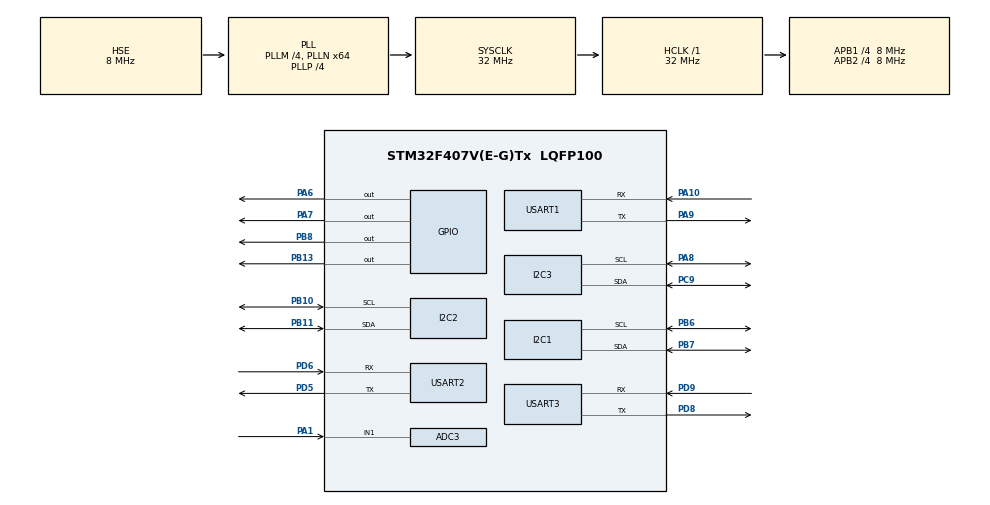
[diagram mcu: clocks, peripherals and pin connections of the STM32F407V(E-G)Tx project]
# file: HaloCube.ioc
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ADC3.Channel-0\#ChannelRegularConversion=ADC_CHANNEL_1
ADC3.NbrOfConversionFlag=1
ADC3.Rank-0\#ChannelRegularConversion=1
ADC3.Resolution=ADC_RESOLUTION_8B
ADC3.SamplingTime-0\#ChannelRegularConversion=ADC_SAMPLETIME_3CYCLES
Dma.I2C1_TX.0.Direction=DMA_MEMORY_TO_PERIPH
Dma.I2C1_TX.0.FIFOMode=DMA_FIFOMODE_DISABLE
Dma.I2C1_TX.0.Instance=DMA1_Stream6
Dma.I2C1_TX.0.MemDataAlignment=DMA_MDATAALIGN_BYTE
Dma.I2C1_TX.0.MemInc=DMA_MINC_ENABLE
Dma.I2C1_TX.0.Mode=DMA_NORMAL
Dma.I2C1_TX.0.PeriphDataAlignment=DMA_PDATAALIGN_BYTE
Dma.I2C1_TX.0.PeriphInc=DMA_PINC_DISABLE
Dma.I2C1_TX.0.Priority=DMA_PRIORITY_HIGH
Dma.I2C3_TX.5.Direction=DMA_MEMORY_TO_PERIPH
Dma.I2C3_TX.5.FIFOMode=DMA_FIFOMODE_DISABLE
Dma.I2C3_TX.5.Instance=DMA1_Stream4
Dma.I2C3_TX.5.MemDataAlignment=DMA_MDATAALIGN_BYTE
Dma.I2C3_TX.5.MemInc=DMA_MINC_ENABLE
Dma.I2C3_TX.5.Mode=DMA_NORMAL
Dma.I2C3_TX.5.PeriphDataAlignment=DMA_PDATAALIGN_BYTE
Dma.I2C3_TX.5.PeriphInc=DMA_PINC_DISABLE
Dma.I2C3_TX.5.Priority=DMA_PRIORITY_VERY_HIGH
Dma.MEMTOMEM.1.Direction=DMA_MEMORY_TO_MEMORY
Dma.MEMTOMEM.1.FIFOMode=DMA_FIFOMODE_ENABLE
Dma.MEMTOMEM.1.FIFOThreshold=DMA_FIFO_THRESHOLD_HALFFULL
Dma.MEMTOMEM.1.Instance=DMA2_Stream1
Dma.MEMTOMEM.1.MemBurst=DMA_MBURST_SINGLE
Dma.MEMTOMEM.1.MemDataAlignment=DMA_MDATAALIGN_BYTE
Dma.MEMTOMEM.1.MemInc=DMA_MINC_ENABLE
Dma.MEMTOMEM.1.Mode=DMA_NORMAL
Dma.MEMTOMEM.1.PeriphBurst=DMA_PBURST_SINGLE
Dma.MEMTOMEM.1.PeriphDataAlignment=DMA_PDATAALIGN_BYTE
Dma.MEMTOMEM.1.PeriphInc=DMA_PINC_ENABLE
Dma.MEMTOMEM.1.Priority=DMA_PRIORITY_LOW
Dma.MEMTOMEM.2.Direction=DMA_MEMORY_TO_MEMORY
Dma.MEMTOMEM.2.FIFOMode=DMA_FIFOMODE_ENABLE
Dma.MEMTOMEM.2.FIFOThreshold=DMA_FIFO_THRESHOLD_FULL
Dma.MEMTOMEM.2.Instance=DMA2_Stream0
Dma.MEMTOMEM.2.MemBurst=DMA_MBURST_SINGLE
Dma.MEMTOMEM.2.MemDataAlignment=DMA_MDATAALIGN_BYTE
Dma.MEMTOMEM.2.MemInc=DMA_MINC_ENABLE
Dma.MEMTOMEM.2.Mode=DMA_NORMAL
Dma.MEMTOMEM.2.PeriphBurst=DMA_PBURST_SINGLE
Dma.MEMTOMEM.2.PeriphDataAlignment=DMA_PDATAALIGN_BYTE
Dma.MEMTOMEM.2.PeriphInc=DMA_PINC_ENABLE
Dma.MEMTOMEM.2.Priority=DMA_PRIORITY_LOW
Dma.Request0=I2C1_TX
Dma.Request1=MEMTOMEM
Dma.Request2=MEMTOMEM
Dma.Request3=USART2_RX
Dma.Request4=USART3_RX
Dma.Request5=I2C3_TX
Dma.Request6=USART1_RX
Dma.USART1_RX.6.Direction=DMA_PERIPH_TO_MEMORY
Dma.USART1_RX.6.FIFOMode=DMA_FIFOMODE_DISABLE
Dma.USART1_RX.6.Instance=DMA2_Stream2
Dma.USART1_RX.6.MemDataAlignment=DMA_MDATAALIGN_BYTE
Dma.USART1_RX.6.MemInc=DMA_MINC_ENABLE
Dma.USART1_RX.6.Mode=DMA_NORMAL
Dma.USART1_RX.6.PeriphDataAlignment=DMA_PDATAALIGN_BYTE
Dma.USART1_RX.6.PeriphInc=DMA_PINC_DISABLE
Dma.USART1_RX.6.Priority=DMA_PRIORITY_LOW
Dma.USART2_RX.3.Direction=DMA_PERIPH_TO_MEMORY
Dma.USART2_RX.3.FIFOMode=DMA_FIFOMODE_DISABLE
Dma.USART2_RX.3.Instance=DMA1_Stream5
Dma.USART2_RX.3.MemDataAlignment=DMA_MDATAALIGN_BYTE
Dma.USART2_RX.3.MemInc=DMA_MINC_ENABLE
Dma.USART2_RX.3.Mode=DMA_NORMAL
Dma.USART2_RX.3.PeriphDataAlignment=DMA_PDATAALIGN_BYTE
Dma.USART2_RX.3.PeriphInc=DMA_PINC_DISABLE
Dma.USART2_RX.3.Priority=DMA_PRIORITY_MEDIUM
Dma.USART3_RX.4.Direction=DMA_PERIPH_TO_MEMORY
Dma.USART3_RX.4.FIFOMode=DMA_FIFOMODE_DISABLE
Dma.USART3_RX.4.Instance=DMA1_Stream1
Dma.USART3_RX.4.MemDataAlignment=DMA_MDATAALIGN_BYTE
Dma.USART3_RX.4.MemInc=DMA_MINC_ENABLE
Dma.USART3_RX.4.Mode=DMA_NORMAL
Dma.USART3_RX.4.PeriphDataAlignment=DMA_PDATAALIGN_BYTE
Dma.USART3_RX.4.PeriphInc=DMA_PINC_DISABLE
Dma.USART3_RX.4.Priority=DMA_PRIORITY_LOW
I2C1.I2C_Mode=I2C_Fast
I2C3.I2C_Mode=I2C_Standard
IWDG.Prescaler=IWDG_PRESCALER_256
IWDG.Reload=2499
Mcu.Family=STM32F4
Mcu.Name=STM32F407V(E-G)Tx
Mcu.Package=LQFP100
NVIC.DMA1_Stream1_IRQn=true\:0\:0\:false\:false\:true\:false\:true
NVIC.DMA1_Stream4_IRQn=true\:0\:0\:false\:false\:true\:false\:true
NVIC.DMA1_Stream5_IRQn=true\:0\:0\:false\:false\:true\:false\:true
NVIC.DMA1_Stream6_IRQn=true\:0\:0\:false\:false\:true\:false\:true
NVIC.DMA2_Stream0_IRQn=true\:0\:0\:false\:false\:true\:true\:true
NVIC.DMA2_Stream1_IRQn=true\:0\:0\:false\:false\:true\:true\:true
NVIC.DMA2_Stream2_IRQn=true\:0\:0\:false\:false\:true\:false\:true
NVIC.I2C1_ER_IRQn=true\:0\:0\:true\:false\:true\:true\:true
NVIC.I2C1_EV_IRQn=true\:0\:0\:false\:false\:true\:true\:true
NVIC.I2C2_ER_IRQn=true\:0\:0\:false\:false\:true\:true\:true
NVIC.I2C2_EV_IRQn=true\:0\:0\:false\:false\:true\:true\:true
NVIC.I2C3_ER_IRQn=true\:0\:0\:false\:false\:true\:true\:true
NVIC.I2C3_EV_IRQn=true\:0\:0\:false\:false\:true\:true\:true
NVIC.PriorityGroup=NVIC_PRIORITYGROUP_4
NVIC.TIM1_TRG_COM_TIM11_IRQn=true\:15\:0\:true\:false\:true\:true\:true
NVIC.TIM1_UP_TIM10_IRQn=true\:6\:0\:true\:false\:true\:true\:true
NVIC.TIM8_TRG_COM_TIM14_IRQn=true\:13\:0\:true\:false\:true\:true\:true
NVIC.TIM8_UP_TIM13_IRQn=true\:14\:0\:true\:false\:true\:true\:true
NVIC.USART1_IRQn=true\:3\:0\:true\:false\:false\:true\:false
NVIC.USART2_IRQn=true\:3\:0\:true\:false\:false\:true\:false
NVIC.USART3_IRQn=true\:3\:0\:true\:false\:false\:true\:false
PA1.Signal=ADCx_IN1
PA10.Mode=Asynchronous
PA10.Signal=USART1_RX
PA13.Mode=Serial_Wire
PA13.Signal=SYS_JTMS-SWDIO
PA14.Mode=Serial_Wire
PA14.Signal=SYS_JTCK-SWCLK
PA6.Signal=GPIO_Output
PA7.Signal=GPIO_Output
PA8.Mode=I2C
PA8.Signal=I2C3_SCL
PA9.Mode=Asynchronous
PA9.Signal=USART1_TX
PB10.Mode=I2C
PB10.Signal=I2C2_SCL
PB11.Mode=I2C
PB11.Signal=I2C2_SDA
PB13.GPIO_PuPd=GPIO_PULLDOWN
PB13.Signal=GPIO_Output
PB6.Mode=I2C
PB6.Signal=I2C1_SCL
PB7.Mode=I2C
PB7.Signal=I2C1_SDA
PB8.GPIO_PuPd=GPIO_PULLUP
PB8.Signal=GPIO_Output
PC14-OSC32_IN.Mode=LSE-External-Oscillator
PC14-OSC32_IN.Signal=RCC_OSC32_IN
PC15-OSC32_OUT.Mode=LSE-External-Oscillator
PC15-OSC32_OUT.Signal=RCC_OSC32_OUT
PC9.Mode=I2C
PC9.Signal=I2C3_SDA
PD5.Mode=Asynchronous
PD5.Signal=USART2_TX
PD6.Mode=Asynchronous
PD6.Signal=USART2_RX
PD8.Mode=Asynchronous
PD8.Signal=USART3_TX
PD9.Mode=Asynchronous
PD9.Signal=USART3_RX
PH0-OSC_IN.Mode=HSE-External-Oscillator
PH0-OSC_IN.Signal=RCC_OSC_IN
PH1-OSC_OUT.Mode=HSE-External-Oscillator
PH1-OSC_OUT.Signal=RCC_OSC_OUT
ProjectManager.HeapSize=0x200
ProjectManager.StackSize=0x400
ProjectManager.TargetToolchain=SW4STM32
RCC.48MHZClocksFreq_Value=32000000
RCC.AHBFreq_Value=32000000
RCC.APB1CLKDivider=RCC_HCLK_DIV4
RCC.APB1Freq_Value=8000000
RCC.APB1TimFreq_Value=16000000
RCC.APB2CLKDivider=RCC_HCLK_DIV4
RCC.APB2Freq_Value=8000000
RCC.APB2TimFreq_Value=16000000
RCC.CortexFreq_Value=32000000
RCC.HCLKFreq_Value=32000000
RCC.HSE_VALUE=8000000
RCC.HSI_VALUE=16000000
RCC.PLLM=4
RCC.PLLN=64
RCC.PLLP=RCC_PLLP_DIV4
RCC.PLLSourceVirtual=RCC_PLLSOURCE_HSE
RCC.RCC_RTC_Clock_Source=RCC_RTCCLKSOURCE_LSI
RCC.RCC_RTC_Clock_SourceVirtual=RCC_RTCCLKSOURCE_LSI
RCC.SYSCLKFreq_VALUE=32000000
RCC.SYSCLKSource=RCC_SYSCLKSOURCE_PLLCLK
RCC.VCOOutputFreq_Value=128000000
SH.ADCx_IN1.0=ADC3_IN1,IN1
TIM10.Period=4999
TIM10.Prescaler=3199
TIM11.Period=124
TIM11.Prescaler=3199
TIM13.Period=7
TIM13.Prescaler=3199
TIM14.Period=1999
TIM14.Prescaler=199
USART1.VirtualMode=VM_ASYNC
USART2.VirtualMode=VM_ASYNC
USART3.VirtualMode=VM_ASYNC
VP_IWDG_VS_IWDG.Mode=IWDG_Activate
VP_TIM10_VS_ClockSourceINT.Mode=Enable_Timer
VP_TIM11_VS_ClockSourceINT.Mode=Enable_Timer
VP_TIM13_VS_ClockSourceINT.Mode=Enable_Timer
VP_TIM14_VS_ClockSourceINT.Mode=Enable_Timer
board=custom

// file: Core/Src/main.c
/* USER CODE BEGIN Header */
/**
  ******************************************************************************
  * @file           : main.c
  * @brief          : Main program body
  ******************************************************************************
  * @attention
  *
  * <h2><center>&copy; Copyright (c) 2021 STMicroelectronics.
  * All rights reserved.</center></h2>
  *
  * This software component is licensed by ST under BSD 3-Clause license,
  * the "License"; You may not use this file except in compliance with the
  * License. You may obtain a copy of the License at:
  *                        opensource.org/licenses/BSD-3-Clause
  *
  ******************************************************************************
  */
/* USER CODE END Header */
#include "main.h"

ADC_HandleTypeDef hadc3;

I2C_HandleTypeDef hi2c1;
I2C_HandleTypeDef hi2c2;
I2C_HandleTypeDef hi2c3;
DMA_HandleTypeDef hdma_i2c1_tx;
DMA_HandleTypeDef hdma_i2c3_tx;

IWDG_HandleTypeDef hiwdg;

TIM_HandleTypeDef htim10;
TIM_HandleTypeDef htim11;
TIM_HandleTypeDef htim13;
TIM_HandleTypeDef htim14;

UART_HandleTypeDef huart1;
UART_HandleTypeDef huart2;
UART_HandleTypeDef huart3;
DMA_HandleTypeDef hdma_usart1_rx;
DMA_HandleTypeDef hdma_usart2_rx;
DMA_HandleTypeDef hdma_usart3_rx;

DMA_HandleTypeDef hdma_memtomem_dma2_stream1;
DMA_HandleTypeDef hdma_memtomem_dma2_stream0;

void SystemClock_Config(void);
static void MX_GPIO_Init(void);
static void MX_DMA_Init(void);
static void MX_I2C1_Init(void);
static void MX_ADC3_Init(void);
static void MX_I2C2_Init(void);
static void MX_USART1_UART_Init(void);
static void MX_TIM11_Init(void);
static void MX_TIM13_Init(void);
static void MX_TIM14_Init(void);
static void MX_IWDG_Init(void);
static void MX_USART2_UART_Init(void);
static void MX_TIM10_Init(void);
static void MX_USART3_UART_Init(void);
static void MX_I2C3_Init(void);

/* USER CODE BEGIN 0 */
uint8_t RENDERED_FLAG = 0;
uint8_t GLOBAL_INITED_FLAG = 0;
uint8_t GLOBAL_SELECT_FLAG = 0;
uint8_t REFRESHING_FLAG = 0;
///[0] for direction, x-> y^, from 0 ~ 255(map from 0~360), pos is x-pos
///[1] for angel, pos is y-pos, from 0 ~ 90
uint8_t GLOBAL_DIRECTION_INDICATOR[2] = {0x0};
uint8_t GLOBAL_ACTION_INDICATOR = 0;
char GLOBAL_INIT_STATE_INDICATOR[20] = "";

extern uint16_t GLOBAL_FRAME_INDICATOR;

void HAL_TIM_PeriodElapsedCallback(TIM_HandleTypeDef *htim) {
    if (htim->Instance == TIM10) {
        goSec();
        return;
    }
    if (htim->Instance == TIM11) {
        GetDirection(GLOBAL_DIRECTION_INDICATOR);
        GLOBAL_ACTION_INDICATOR = GLOBAL_DIRECTION_INDICATOR[0] / 64;
        if (GLOBAL_DIRECTION_INDICATOR[1] > 25) {
            GLOBAL_SELECT_FLAG = 1;
            RenderListPush(RENDER_SelectingUI);
        } else if (GLOBAL_DIRECTION_INDICATOR[1] < 20 && GLOBAL_SELECT_FLAG) {
            GLOBAL_SELECT_FLAG = 0;
            PageAction(GLOBAL_ACTION_INDICATOR);
        }
        return;
    }
    if (htim->Instance == TIM13) {
        if (!RENDERED_FLAG && !REFRESHING_FLAG) {
            if (RenderListGet()())
                RenderListPop();
            RENDERED_FLAG = 1;
        }
        if (REFRESHING_FLAG) {
            OLED_Auto_Refresh();
            REFRESHING_FLAG = 0;
            RENDERED_FLAG = 0;
        }
        return;
    }
    if (htim->Instance == TIM14) {
        GLOBAL_FRAME_INDICATOR++;
        if (GLOBAL_FRAME_INDICATOR == 65535) {
            GLOBAL_FRAME_INDICATOR = 65535;
        }
        if (RENDERED_FLAG) {
            REFRESHING_FLAG = 1;
        }
        return;
    }
}
/* USER CODE END 0 */

int main(void)
{

  /* MCU Configuration--------------------------------------------------------*/

  /* Reset of all peripherals, Initializes the Flash interface and the Systick. */
  HAL_Init();

  /* Configure the system clock */
  SystemClock_Config();

  /* Initialize all configured peripherals */
  MX_GPIO_Init();
  MX_DMA_Init();
  MX_I2C1_Init();
  MX_ADC3_Init();
  MX_I2C2_Init();
  MX_USART1_UART_Init();
  MX_TIM11_Init();
  MX_TIM13_Init();
  MX_TIM14_Init();
  MX_IWDG_Init();
  MX_USART2_UART_Init();
  MX_TIM10_Init();
  MX_USART3_UART_Init();
  MX_I2C3_Init();
  /* USER CODE BEGIN 2 */
    HAL_Delay(100);
    printf("\r\n\r\n****System Start****\r\n");
    ///INIT OLED
    printf("OLED INITing\r\n");
    OLED_Init();
    OLED_Clear();
    OLED_Refresh();
    HAL_IWDG_Refresh(&hiwdg);
    ///INIT RenderController
    RenderListInit();
    RenderListPush(openScreenAnimation);
    RenderListPush(RENDER_MainPage);
    printf("RenderCon INITED\r\n");
    HAL_IWDG_Refresh(&hiwdg);
    ///Pre-Init finished, begin loading page rendering
    HAL_TIM_Base_Start_IT(&htim13);
    HAL_TIM_Base_Start_IT(&htim14);
    ///System factor
    REFACTORED_UART_DMA_INIT();
    ///Add Page
    PageInit();
    HAL_IWDG_Refresh(&hiwdg);
    ///Init MPU6050
    strcpy(GLOBAL_INIT_STATE_INDICATOR, "MPU6050 INITing");
    while (MPU6050_init());
#ifdef MPU6050_DMP_ON
    while (mpu_dmp_init()) while (MPU6050_init()) HAL_Delay(1000);
#endif
    HAL_IWDG_Refresh(&hiwdg);
    printf("MPU6050 INITED\r\n");
    ///Get Battery Status
    HCB_GetBattery();
    strcpy(GLOBAL_INIT_STATE_INDICATOR, "Battery Updated");
    printf("Battery Updated\r\n");
    HAL_IWDG_Refresh(&hiwdg);
    ///Init nRF24L01
#ifndef DEMO_VER
    nRF24L01_INIT();
    strcpy(GLOBAL_INIT_STATE_INDICATOR, "nRF24l01 INITED");
    printf("nRF24L01 INITED\r\n");
    HAL_IWDG_Refresh(&hiwdg);
    ///Init Power Calculator(Sync device status)
    HAL_Delay(500);
    PowerInit();
    strcpy(GLOBAL_INIT_STATE_INDICATOR, "PowerCalc INITED");
    printf("PowerCalc INITED\r\n");
    HAL_IWDG_Refresh(&hiwdg);
#endif
    ///Read possible data from EEPROM
    strcpy(GLOBAL_INIT_STATE_INDICATOR, "EEPROM INITing");
    EEPROM_init();
    summonDemoData();
    printf("EEPROM INITED\r\n");
    ///Init ESP8266
//#ifndef DEMO_VER
    ESP8266_WiFi_INIT();
    strcpy(GLOBAL_INIT_STATE_INDICATOR, "ESP8266 INITED");
    printf("ESP8266 INITED\r\n");
    HAL_IWDG_Refresh(&hiwdg);
    HAL_Delay(100);
    HAL_IWDG_Refresh(&hiwdg);
    ///Get time from network
    getTime(getTimeStamp());
    HAL_TIM_Base_Start_IT(&htim10);
    HAL_IWDG_Refresh(&hiwdg);
    strcpy(GLOBAL_INIT_STATE_INDICATOR, "SysTime INITED");
    printf("SysTime INITED\r\n");
    HAL_IWDG_Refresh(&hiwdg);
//#endif
    ///Init finished
    GLOBAL_INITED_FLAG = 1;
    HAL_TIM_Base_Start_IT(&htim11);
    strcpy(GLOBAL_INIT_STATE_INDICATOR, "INIT Finished");
    printf("****INIT FINISHED, All System Online****\r\n");
  /* USER CODE END 2 */

  /* Infinite loop */
  /* USER CODE BEGIN WHILE */
#pragma clang diagnostic push
#pragma ide diagnostic ignored "EndlessLoop"
    while (1) {
        HAL_IWDG_Refresh(&hiwdg);
        BT_HandleNextTask();
        HAL_GPIO_TogglePin(GPIOA, GPIO_PIN_6);
    /* USER CODE END WHILE */

    /* USER CODE BEGIN 3 */
    }
#pragma clang diagnostic pop
  /* USER CODE END 3 */
}

void SystemClock_Config(void)
{
  RCC_OscInitTypeDef RCC_OscInitStruct = {0};
  RCC_ClkInitTypeDef RCC_ClkInitStruct = {0};

  /** Configure the main internal regulator output voltage
  */
  __HAL_RCC_PWR_CLK_ENABLE();
  __HAL_PWR_VOLTAGESCALING_CONFIG(PWR_REGULATOR_VOLTAGE_SCALE1);
  /** Initializes the RCC Oscillators according to the specified parameters
  * in the RCC_OscInitTypeDef structure.
  */
  RCC_OscInitStruct.OscillatorType = RCC_OSCILLATORTYPE_LSI|RCC_OSCILLATORTYPE_HSE;
  RCC_OscInitStruct.HSEState = RCC_HSE_ON;
  RCC_OscInitStruct.LSIState = RCC_LSI_ON;
  RCC_OscInitStruct.PLL.PLLState = RCC_PLL_ON;
  RCC_OscInitStruct.PLL.PLLSource = RCC_PLLSOURCE_HSE;
  RCC_OscInitStruct.PLL.PLLM = 4;
  RCC_OscInitStruct.PLL.PLLN = 64;
  RCC_OscInitStruct.PLL.PLLP = RCC_PLLP_DIV4;
  RCC_OscInitStruct.PLL.PLLQ = 4;
  if (HAL_RCC_OscConfig(&RCC_OscInitStruct) != HAL_OK)
  {
    Error_Handler();
  }
  /** Initializes the CPU, AHB and APB buses clocks
  */
  RCC_ClkInitStruct.ClockType = RCC_CLOCKTYPE_HCLK|RCC_CLOCKTYPE_SYSCLK
                              |RCC_CLOCKTYPE_PCLK1|RCC_CLOCKTYPE_PCLK2;
  RCC_ClkInitStruct.SYSCLKSource = RCC_SYSCLKSOURCE_PLLCLK;
  RCC_ClkInitStruct.AHBCLKDivider = RCC_SYSCLK_DIV1;
  RCC_ClkInitStruct.APB1CLKDivider = RCC_HCLK_DIV4;
  RCC_ClkInitStruct.APB2CLKDivider = RCC_HCLK_DIV4;

  if (HAL_RCC_ClockConfig(&RCC_ClkInitStruct, FLASH_LATENCY_1) != HAL_OK)
  {
    Error_Handler();
  }
}

static void MX_ADC3_Init(void)
{

  ADC_ChannelConfTypeDef sConfig = {0};

  /** Configure the global features of the ADC (Clock, Resolution, Data Alignment and number of conversion)
  */
  hadc3.Instance = ADC3;
  hadc3.Init.ClockPrescaler = ADC_CLOCK_SYNC_PCLK_DIV2;
  hadc3.Init.Resolution = ADC_RESOLUTION_8B;
  hadc3.Init.ScanConvMode = DISABLE;
  hadc3.Init.ContinuousConvMode = DISABLE;
  hadc3.Init.DiscontinuousConvMode = DISABLE;
  hadc3.Init.ExternalTrigConvEdge = ADC_EXTERNALTRIGCONVEDGE_NONE;
  hadc3.Init.ExternalTrigConv = ADC_SOFTWARE_START;
  hadc3.Init.DataAlign = ADC_DATAALIGN_RIGHT;
  hadc3.Init.NbrOfConversion = 1;
  hadc3.Init.DMAContinuousRequests = DISABLE;
  hadc3.Init.EOCSelection = ADC_EOC_SINGLE_CONV;
  if (HAL_ADC_Init(&hadc3) != HAL_OK)
  {
    Error_Handler();
  }
  /** Configure for the selected ADC regular channel its corresponding rank in the sequencer and its sample time.
  */
  sConfig.Channel = ADC_CHANNEL_1;
  sConfig.Rank = 1;
  sConfig.SamplingTime = ADC_SAMPLETIME_3CYCLES;
  if (HAL_ADC_ConfigChannel(&hadc3, &sConfig) != HAL_OK)
  {
    Error_Handler();
  }

}

static void MX_I2C1_Init(void)
{

  hi2c1.Instance = I2C1;
  hi2c1.Init.ClockSpeed = 400000;
  hi2c1.Init.DutyCycle = I2C_DUTYCYCLE_2;
  hi2c1.Init.OwnAddress1 = 0;
  hi2c1.Init.AddressingMode = I2C_ADDRESSINGMODE_7BIT;
  hi2c1.Init.DualAddressMode = I2C_DUALADDRESS_DISABLE;
  hi2c1.Init.OwnAddress2 = 0;
  hi2c1.Init.GeneralCallMode = I2C_GENERALCALL_DISABLE;
  hi2c1.Init.NoStretchMode = I2C_NOSTRETCH_DISABLE;
  if (HAL_I2C_Init(&hi2c1) != HAL_OK)
  {
    Error_Handler();
  }

}

static void MX_I2C2_Init(void)
{

  hi2c2.Instance = I2C2;
  hi2c2.Init.ClockSpeed = 100000;
  hi2c2.Init.DutyCycle = I2C_DUTYCYCLE_2;
  hi2c2.Init.OwnAddress1 = 0;
  hi2c2.Init.AddressingMode = I2C_ADDRESSINGMODE_7BIT;
  hi2c2.Init.DualAddressMode = I2C_DUALADDRESS_DISABLE;
  hi2c2.Init.OwnAddress2 = 0;
  hi2c2.Init.GeneralCallMode = I2C_GENERALCALL_DISABLE;
  hi2c2.Init.NoStretchMode = I2C_NOSTRETCH_DISABLE;
  if (HAL_I2C_Init(&hi2c2) != HAL_OK)
  {
    Error_Handler();
  }

}

static void MX_I2C3_Init(void)
{

  hi2c3.Instance = I2C3;
  hi2c3.Init.ClockSpeed = 100000;
  hi2c3.Init.DutyCycle = I2C_DUTYCYCLE_2;
  hi2c3.Init.OwnAddress1 = 0;
  hi2c3.Init.AddressingMode = I2C_ADDRESSINGMODE_7BIT;
  hi2c3.Init.DualAddressMode = I2C_DUALADDRESS_DISABLE;
  hi2c3.Init.OwnAddress2 = 0;
  hi2c3.Init.GeneralCallMode = I2C_GENERALCALL_DISABLE;
  hi2c3.Init.NoStretchMode = I2C_NOSTRETCH_DISABLE;
  if (HAL_I2C_Init(&hi2c3) != HAL_OK)
  {
    Error_Handler();
  }

}

static void MX_IWDG_Init(void)
{

  hiwdg.Instance = IWDG;
  hiwdg.Init.Prescaler = IWDG_PRESCALER_256;
  hiwdg.Init.Reload = 2499;
  if (HAL_IWDG_Init(&hiwdg) != HAL_OK)
  {
    Error_Handler();
  }

}

static void MX_TIM10_Init(void)
{

  htim10.Instance = TIM10;
  htim10.Init.Prescaler = 3199;
  htim10.Init.CounterMode = TIM_COUNTERMODE_UP;
  htim10.Init.Period = 4999;
  htim10.Init.ClockDivision = TIM_CLOCKDIVISION_DIV1;
  htim10.Init.AutoReloadPreload = TIM_AUTORELOAD_PRELOAD_DISABLE;
  if (HAL_TIM_Base_Init(&htim10) != HAL_OK)
  {
    Error_Handler();
  }

}

static void MX_TIM11_Init(void)
{

  htim11.Instance = TIM11;
  htim11.Init.Prescaler = 3199;
  htim11.Init.CounterMode = TIM_COUNTERMODE_UP;
  htim11.Init.Period = 124;
  htim11.Init.ClockDivision = TIM_CLOCKDIVISION_DIV1;
  htim11.Init.AutoReloadPreload = TIM_AUTORELOAD_PRELOAD_DISABLE;
  if (HAL_TIM_Base_Init(&htim11) != HAL_OK)
  {
    Error_Handler();
  }

}

static void MX_TIM13_Init(void)
{

  htim13.Instance = TIM13;
  htim13.Init.Prescaler = 3199;
  htim13.Init.CounterMode = TIM_COUNTERMODE_UP;
  htim13.Init.Period = 7;
  htim13.Init.ClockDivision = TIM_CLOCKDIVISION_DIV1;
  htim13.Init.AutoReloadPreload = TIM_AUTORELOAD_PRELOAD_DISABLE;
  if (HAL_TIM_Base_Init(&htim13) != HAL_OK)
  {
    Error_Handler();
  }

}

static void MX_TIM14_Init(void)
{

  htim14.Instance = TIM14;
  htim14.Init.Prescaler = 199;
  htim14.Init.CounterMode = TIM_COUNTERMODE_UP;
  htim14.Init.Period = 1999;
  htim14.Init.ClockDivision = TIM_CLOCKDIVISION_DIV1;
  htim14.Init.AutoReloadPreload = TIM_AUTORELOAD_PRELOAD_DISABLE;
  if (HAL_TIM_Base_Init(&htim14) != HAL_OK)
  {
    Error_Handler();
  }

}

static void MX_USART1_UART_Init(void)
{

  huart1.Instance = USART1;
  huart1.Init.BaudRate = 115200;
  huart1.Init.WordLength = UART_WORDLENGTH_8B;
  huart1.Init.StopBits = UART_STOPBITS_1;
  huart1.Init.Parity = UART_PARITY_NONE;
  huart1.Init.Mode = UART_MODE_TX_RX;
  huart1.Init.HwFlowCtl = UART_HWCONTROL_NONE;
  huart1.Init.OverSampling = UART_OVERSAMPLING_16;
  if (HAL_UART_Init(&huart1) != HAL_OK)
  {
    Error_Handler();
  }

}

static void MX_USART2_UART_Init(void)
{

  huart2.Instance = USART2;
  huart2.Init.BaudRate = 115200;
  huart2.Init.WordLength = UART_WORDLENGTH_8B;
  huart2.Init.StopBits = UART_STOPBITS_1;
  huart2.Init.Parity = UART_PARITY_NONE;
  huart2.Init.Mode = UART_MODE_TX_RX;
  huart2.Init.HwFlowCtl = UART_HWCONTROL_NONE;
  huart2.Init.OverSampling = UART_OVERSAMPLING_16;
  if (HAL_UART_Init(&huart2) != HAL_OK)
  {
    Error_Handler();
  }

}

static void MX_USART3_UART_Init(void)
{

  huart3.Instance = USART3;
  huart3.Init.BaudRate = 115200;
  huart3.Init.WordLength = UART_WORDLENGTH_8B;
  huart3.Init.StopBits = UART_STOPBITS_1;
  huart3.Init.Parity = UART_PARITY_NONE;
  huart3.Init.Mode = UART_MODE_TX_RX;
  huart3.Init.HwFlowCtl = UART_HWCONTROL_NONE;
  huart3.Init.OverSampling = UART_OVERSAMPLING_16;
  if (HAL_UART_Init(&huart3) != HAL_OK)
  {
    Error_Handler();
  }

}

static void MX_DMA_Init(void)
{

  /* DMA controller clock enable */
  __HAL_RCC_DMA1_CLK_ENABLE();
  __HAL_RCC_DMA2_CLK_ENABLE();

  /* Configure DMA request hdma_memtomem_dma2_stream1 on DMA2_Stream1 */
  hdma_memtomem_dma2_stream1.Instance = DMA2_Stream1;
  hdma_memtomem_dma2_stream1.Init.Channel = DMA_CHANNEL_0;
  hdma_memtomem_dma2_stream1.Init.Direction = DMA_MEMORY_TO_MEMORY;
  hdma_memtomem_dma2_stream1.Init.PeriphInc = DMA_PINC_ENABLE;
  hdma_memtomem_dma2_stream1.Init.MemInc = DMA_MINC_ENABLE;
  hdma_memtomem_dma2_stream1.Init.PeriphDataAlignment = DMA_PDATAALIGN_BYTE;
  hdma_memtomem_dma2_stream1.Init.MemDataAlignment = DMA_MDATAALIGN_BYTE;
  hdma_memtomem_dma2_stream1.Init.Mode = DMA_NORMAL;
  hdma_memtomem_dma2_stream1.Init.Priority = DMA_PRIORITY_LOW;
  hdma_memtomem_dma2_stream1.Init.FIFOMode = DMA_FIFOMODE_ENABLE;
  hdma_memtomem_dma2_stream1.Init.FIFOThreshold = DMA_FIFO_THRESHOLD_HALFFULL;
  hdma_memtomem_dma2_stream1.Init.MemBurst = DMA_MBURST_SINGLE;
  hdma_memtomem_dma2_stream1.Init.PeriphBurst = DMA_PBURST_SINGLE;
  if (HAL_DMA_Init(&hdma_memtomem_dma2_stream1) != HAL_OK)
  {
    Error_Handler( );
  }

  /* Configure DMA request hdma_memtomem_dma2_stream0 on DMA2_Stream0 */
  hdma_memtomem_dma2_stream0.Instance = DMA2_Stream0;
  hdma_memtomem_dma2_stream0.Init.Channel = DMA_CHANNEL_0;
  hdma_memtomem_dma2_stream0.Init.Direction = DMA_MEMORY_TO_MEMORY;
  hdma_memtomem_dma2_stream0.Init.PeriphInc = DMA_PINC_ENABLE;
  hdma_memtomem_dma2_stream0.Init.MemInc = DMA_MINC_ENABLE;
  hdma_memtomem_dma2_stream0.Init.PeriphDataAlignment = DMA_PDATAALIGN_BYTE;
  hdma_memtomem_dma2_stream0.Init.MemDataAlignment = DMA_MDATAALIGN_BYTE;
  hdma_memtomem_dma2_stream0.Init.Mode = DMA_NORMAL;
  hdma_memtomem_dma2_stream0.Init.Priority = DMA_PRIORITY_LOW;
  hdma_memtomem_dma2_stream0.Init.FIFOMode = DMA_FIFOMODE_ENABLE;
  hdma_memtomem_dma2_stream0.Init.FIFOThreshold = DMA_FIFO_THRESHOLD_FULL;
  hdma_memtomem_dma2_stream0.Init.MemBurst = DMA_MBURST_SINGLE;
  hdma_memtomem_dma2_stream0.Init.PeriphBurst = DMA_PBURST_SINGLE;
  if (HAL_DMA_Init(&hdma_memtomem_dma2_stream0) != HAL_OK)
  {
    Error_Handler( );
  }

  /* DMA interrupt init */
  /* DMA1_Stream1_IRQn interrupt configuration */
  HAL_NVIC_SetPriority(DMA1_Stream1_IRQn, 0, 0);
  HAL_NVIC_EnableIRQ(DMA1_Stream1_IRQn);
  /* DMA1_Stream4_IRQn interrupt configuration */
  HAL_NVIC_SetPriority(DMA1_Stream4_IRQn, 0, 0);
  HAL_NVIC_EnableIRQ(DMA1_Stream4_IRQn);
  /* DMA1_Stream5_IRQn interrupt configuration */
  HAL_NVIC_SetPriority(DMA1_Stream5_IRQn, 0, 0);
  HAL_NVIC_EnableIRQ(DMA1_Stream5_IRQn);
  /* DMA1_Stream6_IRQn interrupt configuration */
  HAL_NVIC_SetPriority(DMA1_Stream6_IRQn, 0, 0);
  HAL_NVIC_EnableIRQ(DMA1_Stream6_IRQn);
  /* DMA2_Stream0_IRQn interrupt configuration */
  HAL_NVIC_SetPriority(DMA2_Stream0_IRQn, 0, 0);
  HAL_NVIC_EnableIRQ(DMA2_Stream0_IRQn);
  /* DMA2_Stream1_IRQn interrupt configuration */
  HAL_NVIC_SetPriority(DMA2_Stream1_IRQn, 0, 0);
  HAL_NVIC_EnableIRQ(DMA2_Stream1_IRQn);
  /* DMA2_Stream2_IRQn interrupt configuration */
  HAL_NVIC_SetPriority(DMA2_Stream2_IRQn, 0, 0);
  HAL_NVIC_EnableIRQ(DMA2_Stream2_IRQn);

}

static void MX_GPIO_Init(void)
{
  GPIO_InitTypeDef GPIO_InitStruct = {0};

  /* GPIO Ports Clock Enable */
  __HAL_RCC_GPIOC_CLK_ENABLE();
  __HAL_RCC_GPIOH_CLK_ENABLE();
  __HAL_RCC_GPIOA_CLK_ENABLE();
  __HAL_RCC_GPIOB_CLK_ENABLE();
  __HAL_RCC_GPIOD_CLK_ENABLE();

  /*Configure GPIO pin Output Level */
  HAL_GPIO_WritePin(GPIOA, GPIO_PIN_6|GPIO_PIN_7, GPIO_PIN_RESET);

  /*Configure GPIO pin Output Level */
  HAL_GPIO_WritePin(GPIOB, GPIO_PIN_13|GPIO_PIN_8, GPIO_PIN_RESET);

  /*Configure GPIO pins : PA6 PA7 */
  GPIO_InitStruct.Pin = GPIO_PIN_6|GPIO_PIN_7;
  GPIO_InitStruct.Mode = GPIO_MODE_OUTPUT_PP;
  GPIO_InitStruct.Pull = GPIO_NOPULL;
  GPIO_InitStruct.Speed = GPIO_SPEED_FREQ_LOW;
  HAL_GPIO_Init(GPIOA, &GPIO_InitStruct);

  /*Configure GPIO pin : PB13 */
  GPIO_InitStruct.Pin = GPIO_PIN_13;
  GPIO_InitStruct.Mode = GPIO_MODE_OUTPUT_PP;
  GPIO_InitStruct.Pull = GPIO_PULLDOWN;
  GPIO_InitStruct.Speed = GPIO_SPEED_FREQ_LOW;
  HAL_GPIO_Init(GPIOB, &GPIO_InitStruct);

  /*Configure GPIO pin : PB8 */
  GPIO_InitStruct.Pin = GPIO_PIN_8;
  GPIO_InitStruct.Mode = GPIO_MODE_OUTPUT_PP;
  GPIO_InitStruct.Pull = GPIO_PULLUP;
  GPIO_InitStruct.Speed = GPIO_SPEED_FREQ_LOW;
  HAL_GPIO_Init(GPIOB, &GPIO_InitStruct);

}

void Error_Handler(void)
{
}

/************************ (C) COPYRIGHT STMicroelectronics *****END OF FILE****/
